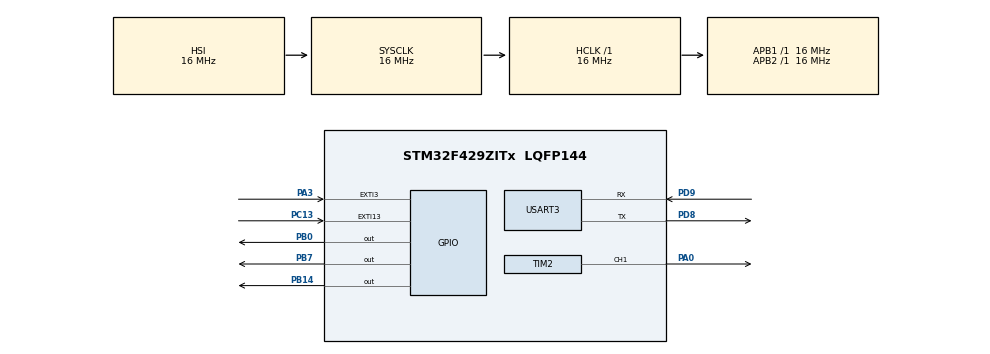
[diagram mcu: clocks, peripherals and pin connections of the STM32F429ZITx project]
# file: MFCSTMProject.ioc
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Mcu.Family=STM32F4
Mcu.Name=STM32F429ZITx
Mcu.Package=LQFP144
NVIC.EXTI15_10_IRQn=true\:0\:0\:false\:true\:true\:1\:true\:true\:true
NVIC.EXTI3_IRQn=true\:0\:0\:false\:true\:true\:2\:true\:true\:true
NVIC.PriorityGroup=NVIC_PRIORITYGROUP_4
NVIC.USART3_IRQn=true\:0\:0\:false\:true\:true\:3\:true\:true\:true
PA0/WKUP.Signal=S_TIM2_CH1_ETR
PA3.Signal=GPXTI3
PB0.Signal=GPIO_Output
PB14.Signal=GPIO_Output
PB7.Signal=GPIO_Output
PC13.Signal=GPXTI13
PD8.Mode=Asynchronous
PD8.Signal=USART3_TX
PD9.Mode=Asynchronous
PD9.Signal=USART3_RX
ProjectManager.HeapSize=0x200
ProjectManager.StackSize=0x400
ProjectManager.TargetToolchain=STM32CubeIDE
RCC.AHBFreq_Value=16000000
RCC.APB1Freq_Value=16000000
RCC.APB2Freq_Value=16000000
RCC.CortexFreq_Value=16000000
RCC.HSE_VALUE=25000000
RCC.HSI_VALUE=16000000
RCC.LSE_VALUE=32768
RCC.SYSCLKFreq_VALUE=16000000
RCC.VCOOutputFreq_Value=192000000
SH.S_TIM2_CH1_ETR.0=TIM2_CH1,Output Compare1 CH1
TIM2.Channel-Output\ Compare1\ CH1=TIM_CHANNEL_1
TIM2.OCMode_1=TIM_OCMODE_TOGGLE
TIM2.Period=3816-1
TIM2.Prescaler=8-1
USART3.VirtualMode=VM_ASYNC
VP_TIM2_VS_ClockSourceINT.Mode=Internal
board=custom

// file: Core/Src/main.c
/* USER CODE BEGIN Header */
/**
  ******************************************************************************
  * @file           : main.c
  * @brief          : Main program body
  ******************************************************************************
  * @attention
  *
  * Copyright (c) 2023 STMicroelectronics.
  * All rights reserved.
  *
  * This software is licensed under terms that can be found in the LICENSE file
  * in the root directory of this software component.
  * If no LICENSE file comes with this software, it is provided AS-IS.
  *
  ******************************************************************************
  */
/* USER CODE END Header */
#include "main.h"
#include "tim.h"
#include "usart.h"
#include "gpio.h"

/* USER CODE BEGIN PD */
//#define BPS 400
//#define TEMPO (1000 * 60 / BPS)
/* USER CODE END PD */

/* USER CODE BEGIN PV */
uint8_t rx_buffer;

uint8_t notes[100];
uint8_t duration[100];
uint8_t idx_music;
uint8_t music_length;
uint16_t tempo = 120;
uint16_t tempo_delay;

uint8_t flag_note;
uint8_t flag_dur;
uint8_t flag_tempo;

int note_table[14] = {262, 293, 329, 349, 392, 440, 494,
                      523, 587, 659, 698, 784, 880, 988};
uint8_t playMusic = 0;
/* USER CODE END PV */

void SystemClock_Config(void);
static void MX_NVIC_Init(void);

int main(void)
{

  /* MCU Configuration--------------------------------------------------------*/

  /* Reset of all peripherals, Initializes the Flash interface and the Systick. */
  HAL_Init();

  /* Configure the system clock */
  SystemClock_Config();

  /* Initialize all configured peripherals */
  MX_GPIO_Init();
  MX_USART3_UART_Init();
  MX_TIM2_Init();

  /* Initialize interrupts */
  MX_NVIC_Init();
  /* USER CODE BEGIN 2 */
  HAL_UART_Receive_IT(&huart3, &rx_buffer, 1);
  tempo_delay = 500 * 60 / tempo;
  /* USER CODE END 2 */

  /* Infinite loop */
  /* USER CODE BEGIN WHILE */
  while (1)
  {
    while (playMusic == 1)  // use while to utilize 'break'
    {
      if (music_length == 0)  // if no music stored
      {
        playMusic = 0;
        break;
      }

      for (idx_music = 0; idx_music < music_length; idx_music++)
      {
        // stop on signal
        if (playMusic == 0)
        {
          break;
        }

        if (notes[idx_music] > -1)
        {
          TIM2->ARR = 1000000 / note_table[notes[idx_music]];
          TIM2->CNT = 0;
          HAL_TIM_OC_Start(&htim2, TIM_CHANNEL_1);
          HAL_Delay(tempo_delay * duration[idx_music]);
          HAL_TIM_OC_Stop(&htim2, TIM_CHANNEL_1);
        }
        else
        {
          HAL_Delay(tempo_delay * duration[idx_music]);
        }
        HAL_Delay(10);
      }

      playMusic = 0;  // done playing
    }
    /* USER CODE END WHILE */

  }
}

void SystemClock_Config(void)
{
  RCC_OscInitTypeDef RCC_OscInitStruct = {0};
  RCC_ClkInitTypeDef RCC_ClkInitStruct = {0};

  /** Configure the main internal regulator output voltage
  */
  __HAL_RCC_PWR_CLK_ENABLE();
  __HAL_PWR_VOLTAGESCALING_CONFIG(PWR_REGULATOR_VOLTAGE_SCALE3);

  /** Initializes the RCC Oscillators according to the specified parameters
  * in the RCC_OscInitTypeDef structure.
  */
  RCC_OscInitStruct.OscillatorType = RCC_OSCILLATORTYPE_HSI;
  RCC_OscInitStruct.HSIState = RCC_HSI_ON;
  RCC_OscInitStruct.HSICalibrationValue = RCC_HSICALIBRATION_DEFAULT;
  RCC_OscInitStruct.PLL.PLLState = RCC_PLL_NONE;
  if (HAL_RCC_OscConfig(&RCC_OscInitStruct) != HAL_OK)
  {
    Error_Handler();
  }

  /** Initializes the CPU, AHB and APB buses clocks
  */
  RCC_ClkInitStruct.ClockType = RCC_CLOCKTYPE_HCLK|RCC_CLOCKTYPE_SYSCLK
                              |RCC_CLOCKTYPE_PCLK1|RCC_CLOCKTYPE_PCLK2;
  RCC_ClkInitStruct.SYSCLKSource = RCC_SYSCLKSOURCE_HSI;
  RCC_ClkInitStruct.AHBCLKDivider = RCC_SYSCLK_DIV1;
  RCC_ClkInitStruct.APB1CLKDivider = RCC_HCLK_DIV1;
  RCC_ClkInitStruct.APB2CLKDivider = RCC_HCLK_DIV1;

  if (HAL_RCC_ClockConfig(&RCC_ClkInitStruct, FLASH_LATENCY_0) != HAL_OK)
  {
    Error_Handler();
  }
}

/**
  * @brief NVIC Configuration.
  * @retval None
  */
static void MX_NVIC_Init(void)
{
  /* EXTI15_10_IRQn interrupt configuration */
  HAL_NVIC_SetPriority(EXTI15_10_IRQn, 0, 0);
  HAL_NVIC_EnableIRQ(EXTI15_10_IRQn);
  /* EXTI3_IRQn interrupt configuration */
  HAL_NVIC_SetPriority(EXTI3_IRQn, 0, 0);
  HAL_NVIC_EnableIRQ(EXTI3_IRQn);
  /* USART3_IRQn interrupt configuration */
  HAL_NVIC_SetPriority(USART3_IRQn, 0, 0);
  HAL_NVIC_EnableIRQ(USART3_IRQn);
}

/* USER CODE BEGIN 4 */
void HAL_UART_RxCpltCallback(UART_HandleTypeDef *huart)
{
  if (huart->Instance == USART3)
  {
    if (rx_buffer == 0x4E)       // 'N' : notes
    {
      // clear array (optional)
      flag_note = 1;
      flag_dur = 0;
      idx_music = 0;
    }
    else if (rx_buffer == 0x44)  // 'D' : duration
    {
      // clear array (optional)
      flag_note = 0;
      flag_dur = 1;
      idx_music = 0;
    }
    else if (rx_buffer == 0x7F)  // end code
    {
      flag_note = 0;
      flag_dur = 0;
      music_length = idx_music;
      idx_music = 0;
    }
    else if (rx_buffer == 0x50) // 'P' : play
    {
      playMusic = 1;
    }
    else if (rx_buffer == 0x53) // 'S' : stop
    {
      playMusic = 0;
    }
    else if (rx_buffer == 0x54) // 'T' : tempo
    {
      flag_tempo = 1;
    }
    else
    {
      if (flag_note == 1)
      {
        notes[idx_music] = rx_buffer;
        idx_music++;
      }
      if (flag_dur == 1)
      {
        duration[idx_music] = rx_buffer;
        idx_music++;
      }
      if (flag_tempo == 1)
      {
        tempo = rx_buffer;

        if (tempo == 0)
          tempo_delay = 500 * 60 / 60;
        else if (tempo == 1)
          tempo_delay = 500 * 60 / 80;
        else if (tempo == 2)
          tempo_delay = 500 * 60 / 100;
        else if (tempo == 3)
          tempo_delay = 500 * 60 / 120;
        else if (tempo == 4)
          tempo_delay = 500 * 60 / 200;

        flag_tempo = 0;
      }
    }
  }
  HAL_UART_Receive_IT(&huart3, &rx_buffer, 1);
}
void HAL_GPIO_EXTI_Callback(uint16_t GPIO_Pin)
{
  if (GPIO_Pin == GPIO_PIN_3)
  {
    if (playMusic)
      playMusic = 0;
    else if (!playMusic)
      playMusic = 1;
  }
  if (GPIO_Pin == GPIO_PIN_13)
  {
    if (playMusic)
      playMusic = 0;
    else if (!playMusic)
      playMusic = 1;
  }
}
/* USER CODE END 4 */

void Error_Handler(void)
{
  __disable_irq();
  while (1)
  {
  }
}
